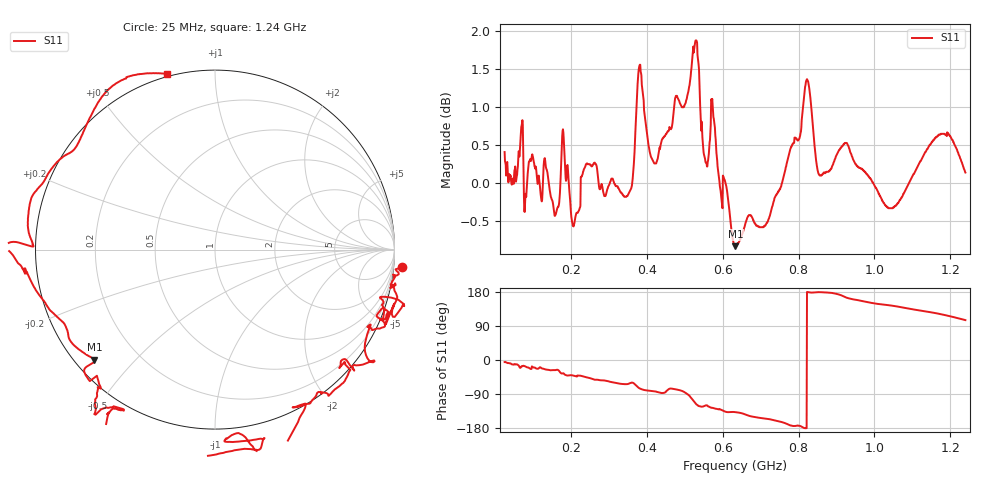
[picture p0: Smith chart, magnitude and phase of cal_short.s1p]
!Created with skrf (http://scikit-rf.org).
# Hz S RI R 50.0
!freq ReS11 ImS11
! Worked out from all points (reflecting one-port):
!   1217 points, 25 MHz to 1.24 GHz, reference 50 ohm
!   lowest |S11| = -0.8 dB at 633.5 MHz (marker M1), VSWR 20.95, Z = 2.74 - j19.3 ohm
!   phase of S11 starts at -5 deg and turns -249 deg over the sweep
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2.5e7  1.044 -0.0994
8.995e7  0.9617 -0.3798
1.6289e8  0.865 -0.4176
1.7688e8  0.8721 -0.6269
2.0585e8  0.7061 -0.6168
3.2975e8  0.453 -0.8774
3.6073e8  0.5041 -0.8596
3.8271e8  0.2956 -1.16
4.3766e8  0.0543 -1.062
4.6164e8  0.2748 -1.051
4.8063e8  0.2306 -1.115
5.0661e8  0.00638 -1.142
5.2259e8  -0.3665 -1.174
5.3458e8  -0.5956 -1.052
5.4657e8  -0.5828 -0.8992
5.5756e8  -0.5077 -0.8966
5.7455e8  -0.6659 -0.8983
6.3251e8  -0.671 -0.6146
6.335e8  -0.6714 -0.6126
7.4741e8  -0.9383 -0.3112
7.8538e8  -1.056 -0.109
8.2335e8  -1.169 0.0129
8.5233e8  -1.015 0.017
8.893e8  -1.025 0.058
9.3626e8  -0.9956 0.3283
1.08814e9  -0.7175 0.6916
1.16707e9  -0.5789 0.9046
1.24001e9  -0.2678 0.9803
